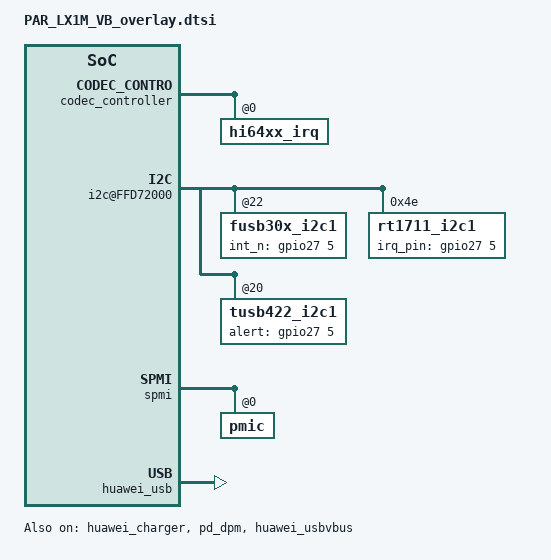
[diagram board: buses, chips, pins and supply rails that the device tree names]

/**
 * Copyright (C) 2014 Hisilicon Ltd.
 *
 *  This program is free software; you can redistribute it and/or modify
 *  it under the terms of the GNU General Public License version 2 as
 *  publishhed by the Free Software Foundation.
 */

/include/ "PAR_AL00_VA_overlay.dtsi"

/ {
	board_id = <6892>;
};

&rootparam {
    hisi,boardid = <6 8 9 2>;
    hisi,boardname = "PAR_LX1M_VB";
};
&codec_controller {
		hi64xx_irq@0{
				hi6403_codec@0 {
						hisilicon,wakeup_hisi_algo_support = <0>;
				};
		};
	};
&amba {
	i2c@FFD72000 {
		status = "ok";
		fusb30x_i2c1@22 {
			fairchild,int_n = <&gpio27 5 0>;
			status = "ok";
		};
		rt1711_i2c1@4e {
			rt1711,irq_pin = <&gpio27 5 0>;
			reg = <0x4e>;
			status = "ok";
		};
		tusb422_i2c1@20 {
			ti,alert-gpio = <&gpio27 5 0>;
			status = "ok";
		};
	};
	i2c@FDF0D000 {
		typec@47{
			status = "disabled";
		};
		typec@21 {
			status = "disabled";
		};
		typec@1d {
			status = "disabled";
		};
		typec@1E {
			status = "disabled";
		};
	};
};
&deviceboxID {
	speaker_map = <1 3>;/*3 means GD, 1 means AAC*/
};
&spmi {
	pmic@0 {
		usbvbus {
			status = "disabled";
		};
	};
};
&huawei_charger {
	pd_support = <0x1>;
	status = "ok";
};
&pd_dpm {
	status = "ok";
	switch_manual_enable = <0>;
	abnormal_cc_detection = <1>;
	support_analog_audio = <0>;
	support_dp = <0>;
};
&huawei_usb {
	maximum-speed = "high-speed";
	status = "ok";
};
&huawei_usbvbus {
	support_pd = <1>;
	support_dp = <0>;
	status = "ok";
};
&audio_hw_config {
	audio_capability {
		/*
			use hisilicon wakeup engine.
			true: use hisilicon wakeup engine.
			false: DO NOT use hisilicon wakeup engine.
		*/
		wakeup_hisiengine = "false";
	};
};
&hisi_usb {
	usb_support_dp = <1>;
};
